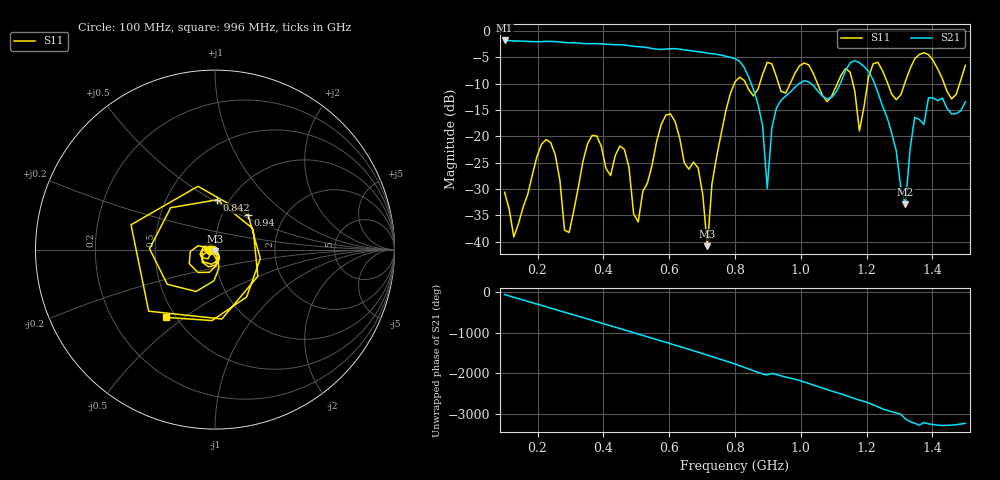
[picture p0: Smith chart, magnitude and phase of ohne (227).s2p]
! NanoVNA-App
! Date: 2025-09-25 14:22:34
! Start: 100MHz Stop: 1,5GHz Points: 101
! S-Parameter data: F S11 S21 S12 S22
# Hz S RI R 50
!  Frequency  S11_Real  S11_Imag  S21_Real  S21_Imag  S12_Real  S12_Imag  S22_Real  S22_Imag
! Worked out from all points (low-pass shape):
!   101 points, 100 MHz to 1.5 GHz, reference 50 ohm
!   highest |S21| = -1.79 dB at 100 MHz (marker M1); lowest = -32.9 dB at 1.318 GHz (marker M2)
!   |S21| within 3 dB of the highest: start of sweep to 772.6 MHz
!   lowest |S11| = -40.9 dB at 716 MHz (marker M3), VSWR 1.02, Z = 49.9 - j0.895 ohm
!   |S11| at or under -10 dB: start of sweep to 797.8 MHz; 833 MHz to 875.1 MHz (42.05 MHz wide, 4.92 % of centre); 1.051 GHz to 1.111 GHz (60.11 MHz wide, 5.56 % of centre) (the widest 3 of 7)
!   S12 and S22 are empty: the file has one direction only
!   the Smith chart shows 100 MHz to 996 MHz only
!   S11 on the Smith chart (normalised r, x): 100 MHz: 0.94, -0.01; 842 MHz: 0.88, +0.53; 940 MHz: 1.32, +0.55; 996 MHz: 0.44, -0.43
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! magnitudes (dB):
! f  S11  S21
! 100 MHz  -30.6  -1.8
! 128 MHz  -39.1  -1.9
! 226 MHz  -20.6  -2.0
! 296 MHz  -38.3  -2.2
! 338 MHz  -24.8  -2.4
! 464 MHz  -22.5  -2.7
! 506 MHz  -36.3  -3.0
! 576 MHz  -17.7  -3.5
! 688 MHz  -26.0  -3.9
! 716 MHz  -40.9  -4.2
! 800 MHz  -9.7  -5.2
! 842 MHz  -11.1  -8.8
! 898 MHz  -5.9  -29.9
! 940 MHz  -11.5  -13.2
! 996 MHz  -6.6  -10.0
! 1.038 GHz  -8.0  -10.3
! 1.178 GHz  -19.0  -6.0
! 1.22 GHz  -6.2  -9.3
! 1.276 GHz  -12.0  -19.3
! 1.318 GHz  -9.5  -32.9
! 1.346 GHz  -5.3  -16.4
! 1.5 GHz  -6.5  -13.4
